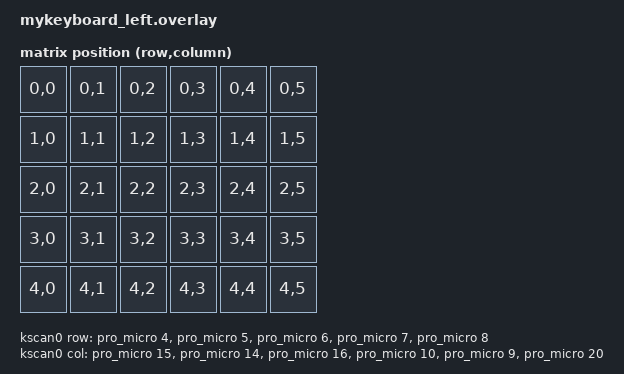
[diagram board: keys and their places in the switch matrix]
/*
 * Copyright (c) 2024 The ZMK Contributors
 * SPDX-License-Identifier: MIT
 */

#include <dt-bindings/zmk/matrix_transform.h>

/ {
    chosen {
        zmk,kscan = &kscan0;
        zmk,matrix-transform = &default_transform;
    };

    // Maps this half's physical row/col matrix positions onto keymap
    // positions 0-29 (left half = first 30 keys of your 60-key keymap).
    default_transform: keymap_transform_0 {
        compatible = "zmk,matrix-transform";
        columns = <6>;
        rows = <5>;

        map = <
RC(0,0) RC(0,1) RC(0,2) RC(0,3) RC(0,4) RC(0,5)
RC(1,0) RC(1,1) RC(1,2) RC(1,3) RC(1,4) RC(1,5)
RC(2,0) RC(2,1) RC(2,2) RC(2,3) RC(2,4) RC(2,5)
RC(3,0) RC(3,1) RC(3,2) RC(3,3) RC(3,4) RC(3,5)
RC(4,0) RC(4,1) RC(4,2) RC(4,3) RC(4,4) RC(4,5)
        >;
    };

    kscan0: kscan {
        compatible = "zmk,kscan-gpio-matrix";
        wakeup-source;

        // TODO: set to "row2col" instead if that's how your diodes are wired
        diode-direction = "col2row";

        // =====================================================================
        // TODO — REPLACE EVERY PIN NUMBER BELOW.
        // These are placeholders (sequential, not based on real wiring).
        // Numbers use nice!nano's "pro micro" pin numbering (0-21), matching
        // the pin labels silkscreened on the board (D0-D10, A0-A3, etc.),
        // NOT raw nRF52840 GPIO numbers.
        // Reference diagram: https://zmk.dev/docs/hardware/nice-nano
        // Trace each row/col trace on your PCB back to the nice!nano pad it
        // lands on, find that pad's pro-micro number on the diagram above,
        // and put it in the matching slot below.
        // =====================================================================
        row-gpios
            = <&pro_micro 4  GPIO_ACTIVE_HIGH>   // ROW0 - placeholder, replace
            , <&pro_micro 5  GPIO_ACTIVE_HIGH>   // ROW1 - placeholder, replace
            , <&pro_micro 6  GPIO_ACTIVE_HIGH>   // ROW2 - placeholder, replace
            , <&pro_micro 7  GPIO_ACTIVE_HIGH>   // ROW3 - placeholder, replace
            , <&pro_micro 8  GPIO_ACTIVE_HIGH>   // ROW4 - placeholder, replace
            ;

        col-gpios
            = <&pro_micro 15 GPIO_ACTIVE_HIGH>   // COL0 - placeholder, replace
            , <&pro_micro 14 GPIO_ACTIVE_HIGH>   // COL1 - placeholder, replace
            , <&pro_micro 16 GPIO_ACTIVE_HIGH>   // COL2 - placeholder, replace
            , <&pro_micro 10 GPIO_ACTIVE_HIGH>   // COL3 - placeholder, replace
            , <&pro_micro 9  GPIO_ACTIVE_HIGH>   // COL4 - placeholder, replace
            , <&pro_micro 20 GPIO_ACTIVE_HIGH>   // COL5 - placeholder, replace
            ;
    };
};
